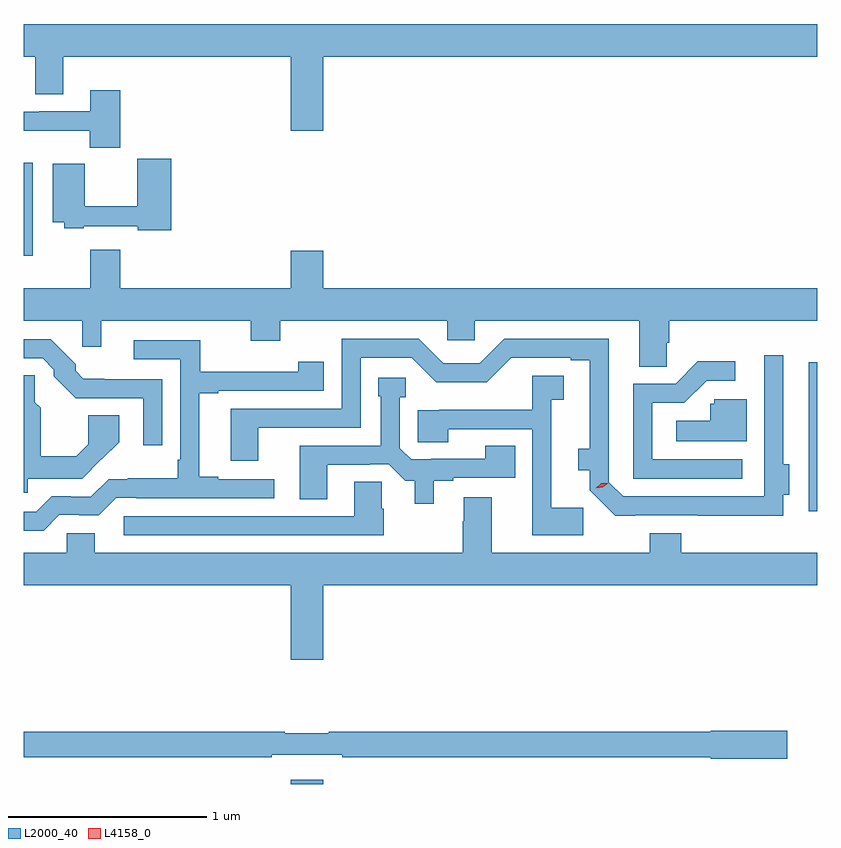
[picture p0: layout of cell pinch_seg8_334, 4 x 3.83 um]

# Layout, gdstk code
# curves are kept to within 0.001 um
import gdstk
lib = gdstk.Library(unit=1e-6, precision=1e-09)
def R(c, l, rs):  # rectangles x0, y0, x1, y1
    for r in rs: c.add(gdstk.rectangle(r[:2], r[2:], *l))
def P(c, l, *ps):  # polygons
    for p in ps: c.add(gdstk.Polygon(p, *l))
L2000_40 = (2000, 40)
L4158_0 = (4158, 0)

pinch_seg8_334 = lib.new_cell('pinch_seg8_334')
R(pinch_seg8_334, L2000_40, [(392.78,1155.459,392.944,1155.481), (395.391,1156.833,395.434,1157.583), (391.434,1158.12,391.48,1158.589)])
P(pinch_seg8_334, L2000_40, [(392.944,1159.124),(395.434,1159.124),(395.434,1159.288),(391.434,1159.288),(391.434,1159.124),(391.493,1159.124),(391.493,1158.934),(391.633,1158.934),(391.633,1159.124),(392.78,1159.124),(392.78,1158.75),(392.944,1158.75)],
  [(391.922,1158.955),(391.769,1158.955),(391.769,1158.849),(391.513,1158.849),(391.513,1158.846),(391.434,1158.846),(391.434,1158.75),(391.767,1158.75),(391.767,1158.665),(391.922,1158.665)],
  [(392.177,1158.61),(392.006,1158.61),(392.006,1158.371),(391.742,1158.371),(391.742,1158.583),(391.58,1158.583),(391.58,1158.29),(391.638,1158.29),(391.638,1158.258),(391.738,1158.258),(391.738,1158.27),(392.01,1158.27),(392.01,1158.25),(392.177,1158.25)],
  [(394.674,1157.683),(394.688,1157.683),(394.688,1157.792),(395.434,1157.792),(395.434,1157.956),(392.944,1157.956),(392.944,1158.145),(392.78,1158.145),(392.78,1157.956),(391.922,1157.956),(391.922,1158.151),(391.769,1158.151),(391.769,1157.956),(391.434,1157.956),(391.434,1157.792),(391.729,1157.792),(391.729,1157.663),(391.825,1157.663),(391.825,1157.792),(392.579,1157.792),(392.579,1157.693),(392.727,1157.693),(392.727,1157.792),(393.57,1157.792),(393.57,1157.694),(393.708,1157.694),(393.708,1157.792),(394.535,1157.792),(394.535,1157.56),(394.674,1157.56)],
  [(394.516,1156.812),(395.262,1156.811),(395.262,1156.916),(395.293,1156.916),(395.293,1157.069),(395.262,1157.069),(395.262,1157.62),(395.166,1157.62),(395.166,1156.908),(394.455,1156.908),(394.383,1156.98),(394.383,1157.703),(393.855,1157.703),(393.732,1157.58),(393.549,1157.58),(393.426,1157.703),(393.036,1157.703),(393.036,1157.349),(392.477,1157.349),(392.477,1157.088),(392.617,1157.088),(392.617,1157.253),(393.132,1157.253),(393.132,1157.607),(393.39,1157.607),(393.514,1157.483),(393.768,1157.483),(393.892,1157.607),(394.19,1157.607),(394.19,1157.595),(394.286,1157.595),(394.286,1157.149),(394.229,1157.149),(394.229,1157.039),(394.286,1157.039),(394.286,1156.94),(394.415,1156.811)],
  [(392.133,1157.499),(391.736,1157.5),(391.696,1157.541),(391.696,1157.575),(391.57,1157.7),(391.434,1157.7),(391.434,1157.604),(391.53,1157.604),(391.587,1157.547),(391.587,1157.513),(391.697,1157.403),(392.037,1157.403),(392.037,1157.166),(392.133,1157.166)],
  [(391.614,1156.815),(391.715,1156.815),(391.715,1156.812),(391.812,1156.812),(391.902,1156.902),(392.002,1156.902),(392.002,1156.899),(392.698,1156.899),(392.698,1156.995),(392.416,1156.995),(392.416,1157.008),(392.32,1157.008),(392.32,1157.427),(392.416,1157.427),(392.416,1157.439),(392.947,1157.439),(392.947,1157.587),(392.819,1157.587),(392.819,1157.536),(392.324,1157.536),(392.324,1157.694),(391.989,1157.694),(391.989,1157.598),(392.223,1157.598),(392.223,1157.092),(392.211,1157.092),(392.211,1156.999),(391.96,1156.999),(391.96,1156.995),(391.863,1156.995),(391.773,1156.905),(391.673,1156.905),(391.673,1156.908),(391.575,1156.908),(391.497,1156.83),(391.434,1156.83),(391.434,1156.736),(391.535,1156.736)],
  [(395.056,1157.094),(394.602,1157.094),(394.602,1157.379),(394.764,1157.379),(394.875,1157.49),(395.02,1157.49),(395.02,1157.588),(394.832,1157.588),(394.719,1157.475),(394.506,1157.475),(394.506,1156.998),(395.056,1156.998)],
  [(391.455,1156.998),(391.729,1156.998),(391.915,1157.182),(391.915,1157.318),(391.761,1157.318),(391.761,1157.17),(391.699,1157.109),(391.52,1157.109),(391.52,1157.354),(391.491,1157.383),(391.491,1157.518),(391.434,1157.518),(391.434,1156.926),(391.455,1156.926)],
  [(394.254,1156.851),(394.093,1156.851),(394.093,1157.394),(394.156,1157.394),(394.156,1157.515),(393.996,1157.515),(393.996,1157.344),(393.529,1157.344),(393.529,1157.343),(393.419,1157.343),(393.419,1157.182),(393.573,1157.182),(393.573,1157.247),(393.996,1157.247),(393.996,1156.712),(394.254,1156.712)],
  [(393.502,1156.986),(393.598,1156.986),(393.598,1157.001),(393.911,1157.001),(393.911,1157.162),(393.76,1157.162),(393.76,1157.097),(393.487,1157.097),(393.487,1157.094),(393.387,1157.094),(393.33,1157.151),(393.33,1157.407),(393.36,1157.407),(393.36,1157.505),(393.221,1157.505),(393.221,1157.412),(393.234,1157.412),(393.234,1157.163),(392.825,1157.163),(392.825,1156.894),(392.965,1156.894),(392.965,1157.067),(393.179,1157.067),(393.179,1157.07),(393.273,1157.07),(393.357,1156.986),(393.404,1156.986),(393.404,1156.872),(393.502,1156.872)],
  [(395.077,1157.397),(394.914,1157.397),(394.914,1157.376),(394.893,1157.376),(394.893,1157.29),(394.722,1157.29),(394.722,1157.186),(395.077,1157.186)],
  [(393.249,1156.845),(393.239,1156.845),(393.239,1156.982),(393.101,1156.982),(393.101,1156.809),(391.938,1156.809),(391.938,1156.713),(393.249,1156.713)],
  [(392.944,1156.46),(395.434,1156.46),(395.434,1156.624),(394.748,1156.624),(394.748,1156.723),(394.588,1156.723),(394.588,1156.624),(393.793,1156.624),(393.793,1156.903),(393.653,1156.903),(393.653,1156.784),(393.646,1156.784),(393.646,1156.624),(391.792,1156.624),(391.792,1156.722),(391.653,1156.722),(391.653,1156.624),(391.434,1156.624),(391.434,1156.46),(392.78,1156.46),(392.78,1156.086),(392.944,1156.086)],
  [(395.281,1155.728),(394.896,1155.728),(394.896,1155.722),(392.973,1155.722),(392.973,1155.715),(392.751,1155.715),(392.751,1155.722),(391.434,1155.722),(391.434,1155.594),(392.684,1155.594),(392.684,1155.606),(393.04,1155.606),(393.04,1155.594),(394.896,1155.594),(394.896,1155.586),(395.281,1155.586)])
P(pinch_seg8_334, L4158_0, [(394.316,1156.949),(394.316,1156.949),(394.316,1156.95),(394.345,1156.973),(394.382,1156.978),(394.383,1156.978),(394.383,1156.978),(394.353,1156.954)])

lib.write_gds('pinch_seg8_334.gds')
